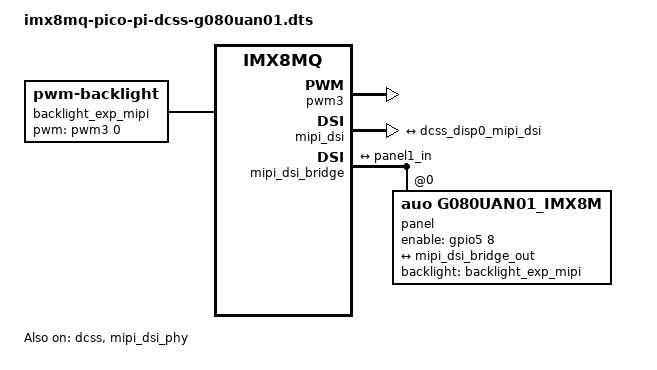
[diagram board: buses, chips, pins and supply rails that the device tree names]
/*
 * Copyright 2018 Technexion Ltd.
 * Copyright 2017 NXP
 *
 * Author: Richard Hu <richard.hu@technexion.com>
 *
 * This program is free software; you can redistribute it and/or
 * modify it under the terms of the GNU General Public License
 * as published by the Free Software Foundation; either version 2
 * of the License, or (at your option) any later version.
 *
 * This program is distributed in the hope that it will be useful,
 * but WITHOUT ANY WARRANTY; without even the implied warranty of
 * MERCHANTABILITY or FITNESS FOR A PARTICULAR PURPOSE.  See the
 * GNU General Public License for more details.
 */

#include "imx8mq-pico-pi.dts"

/ {
	sound-hdmi {
		status = "disabled";
	};

	backlight_exp_mipi: backlight_exp_mipi {
		compatible = "pwm-backlight";
		pwms = <&pwm3 0 50000 0>;
		brightness-levels = <0 36 72 108 144 180 216 255>;
		default-brightness-level = <6>;
		status = "okay";
	};
};

&iomuxc {
	pinctrl-names = "default";

	imx8m-pico {
		pinctrl_exp_dsi_pwm: exp_dsi_pwm {
			fsl,pins = <
				MX8MQ_IOMUXC_SPDIF_TX_PWM3_OUT		0x16	/* Expansion DSI PWM */
			>;
		};

		pinctrl_exp_mipi_dsi_en: exp_mipi_dsi_en {
			fsl,pins = <
				MX8MQ_IOMUXC_ECSPI1_MISO_GPIO5_IO8	0x16   /* Enable pin for MIPI DSI panel */
			>;
		};
	};
};

&hdmi {
	status = "disabled";
};

&pwm3 {
	pinctrl-names = "default";
	pinctrl-0 = <&pinctrl_exp_dsi_pwm>;
	status = "okay";
};

&dcss {
	status = "okay";
	disp-dev = "mipi_disp";

	clocks = <&clk IMX8MQ_CLK_DISP_APB_ROOT>,
		 <&clk IMX8MQ_CLK_DISP_AXI_ROOT>,
		 <&clk IMX8MQ_CLK_DISP_RTRM_ROOT>,
		 <&clk IMX8MQ_CLK_DC_PIXEL>,
		 <&clk IMX8MQ_CLK_DISP_DTRC>,
		 <&clk IMX8MQ_VIDEO_PLL1>,
		 <&clk IMX8MQ_CLK_27M>,
		 <&clk IMX8MQ_CLK_25M>;
	clock-names = "apb", "axi", "rtrm", "pix", "dtrc", "pll",
		      "pll_src1", "pll_src2";

	assigned-clocks = <&clk IMX8MQ_CLK_DC_PIXEL>,
			  <&clk IMX8MQ_CLK_DISP_AXI>,
			  <&clk IMX8MQ_CLK_DISP_RTRM>;
	assigned-clock-parents = <&clk IMX8MQ_VIDEO_PLL1_OUT>,
				 <&clk IMX8MQ_SYS1_PLL_800M>,
				 <&clk IMX8MQ_SYS1_PLL_800M>;
	assigned-clock-rates = <600000000>,
			       <800000000>,
			       <400000000>;

	dcss_disp0: port@0 {
		reg = <0>;

		dcss_disp0_mipi_dsi: mipi_dsi {
			remote-endpoint = <&mipi_dsi_in>;
		};
	};
};

&mipi_dsi_phy {
	status = "okay";
};

&mipi_dsi {
	status = "okay";

	port@1 {
		mipi_dsi_in: endpoint {
			remote-endpoint = <&dcss_disp0_mipi_dsi>;
		};
	};
};

&mipi_dsi_bridge {
	status = "okay";

	panel@0 {
		compatible = "auo,g080uan01_imx8m";
		reg = <0>;
		pinctrl-0 = <&pinctrl_exp_mipi_dsi_en>;
		enable-gpios = <&gpio5 8 GPIO_ACTIVE_HIGH>;
		backlight = <&backlight_exp_mipi>;
		status = "okay";

		port {
			panel1_in: endpoint {
				remote-endpoint = <&mipi_dsi_bridge_out>;
			};
		};
	};

	port@1 {
		mipi_dsi_bridge_out: endpoint {
			remote-endpoint = <&panel1_in>;
		};
	};
};
